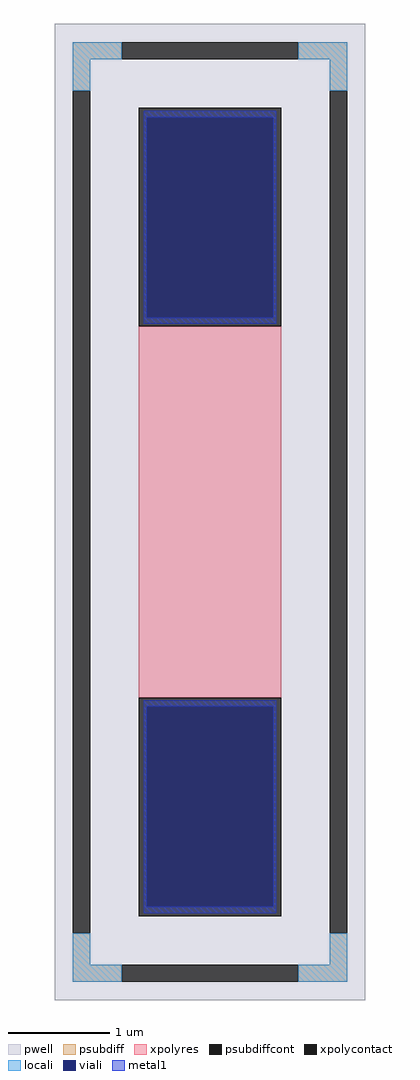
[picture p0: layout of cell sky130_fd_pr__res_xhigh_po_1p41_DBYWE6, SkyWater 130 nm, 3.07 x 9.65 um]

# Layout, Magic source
magic
tech sky130A
magscale 1 2
<< pwell >>
rect -307 -965 307 965
<< psubdiff >>
rect -271 895 -175 929
rect 175 895 271 929
rect -271 833 -237 895
rect 237 833 271 895
rect -271 -895 -237 -833
rect 237 -895 271 -833
rect -271 -929 -175 -895
rect 175 -929 271 -895
<< psubdiffcont >>
rect -175 895 175 929
rect -271 -833 -237 833
rect 237 -833 271 833
rect -175 -929 175 -895
<< xpolycontact >>
rect -141 367 141 799
rect -141 -799 141 -367
<< xpolyres >>
rect -141 -367 141 367
<< locali >>
rect -271 895 -175 929
rect 175 895 271 929
rect -271 833 -237 895
rect 237 833 271 895
rect -271 -895 -237 -833
rect 237 -895 271 -833
rect -271 -929 -175 -895
rect 175 -929 271 -895
<< viali >>
rect -125 384 125 781
rect -125 -781 125 -384
<< metal1 >>
rect -131 781 131 793
rect -131 384 -125 781
rect 125 384 131 781
rect -131 372 131 384
rect -131 -384 131 -372
rect -131 -781 -125 -384
rect 125 -781 131 -384
rect -131 -793 131 -781
<< properties >>
string FIXED_BBOX -254 -912 254 912
string gencell sky130_fd_pr__res_xhigh_po_1p41
string library sky130
string parameters w 1.410 l 3.834 m 1 nx 1 wmin 1.410 lmin 0.50 rho 2000 val 5.705k dummy 0 dw 0.0 term 188.2 sterm 0.0 caplen 0 wmax 1.410 guard 1 glc 1 grc 1 gtc 1 gbc 1 compatible {sky130_fd_pr__res_xhigh_po_0p35  sky130_fd_pr__res_xhigh_po_0p69 sky130_fd_pr__res_xhigh_po_1p41  sky130_fd_pr__res_xhigh_po_2p85 sky130_fd_pr__res_xhigh_po_5p73} snake 0 full_metal 1 n_guard 0 hv_guard 0 vias 1 viagb 0 viagt 0 viagl 0 viagr 0
<< end >>
